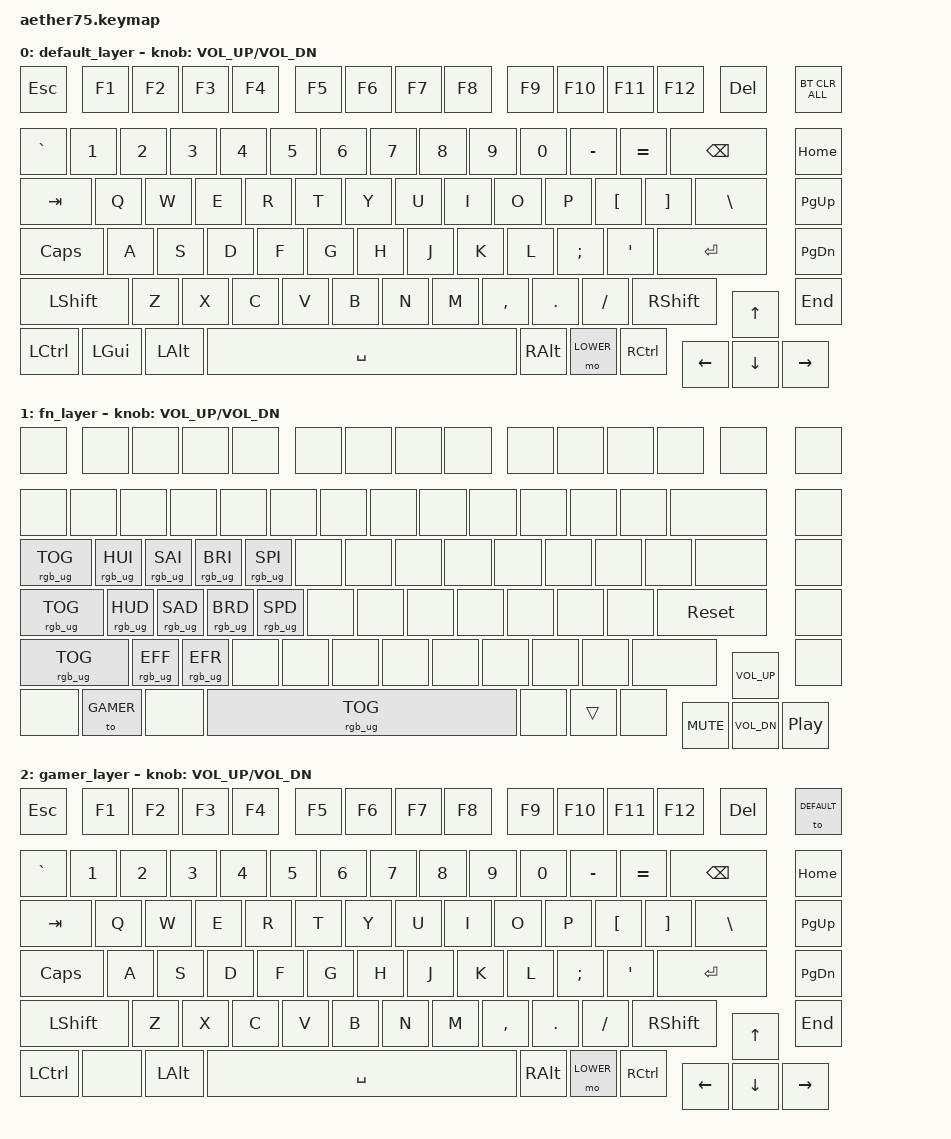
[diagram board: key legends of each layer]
/*
 * Copyright (c) 2025 Miguelio
 *
 * SPDX-License-Identifier: MIT
 */

#include <behaviors.dtsi>
#include <dt-bindings/zmk/keys.h>
#include <dt-bindings/zmk/bt.h>
#include <dt-bindings/zmk/ext_power.h>
#include <dt-bindings/zmk/rgb.h>

#define DEFAULT 0
#define LOWER   1
#define GAMER   2

&left_encoder { status = "okay"; };

/ {
	keymap {
		compatible = "zmk,keymap";

		default_layer {
			bindings = <
	&kp ESC    &kp F1    &kp F2  &kp F3  &kp F4  &kp F5  &kp F6  &kp F7  &kp F8    &kp F9     &kp F10    &kp F11    &kp F12    &kp DEL   &bt BT_CLR_ALL
	&kp GRAVE  &kp N1    &kp N2  &kp N3  &kp N4  &kp N5  &kp N6  &kp N7  &kp N8    &kp N9     &kp N0     &kp MINUS  &kp EQUAL  &kp BSPC  &kp HOME 
	&kp TAB    &kp Q     &kp W   &kp E   &kp R   &kp T   &kp Y   &kp U   &kp I     &kp  O     &kp P      &kp LBKT   &kp RBKT   &kp BSLH  &kp PG_UP 
	&kp CLCK   &kp A     &kp S   &kp D   &kp F   &kp G   &kp H   &kp J   &kp K     &kp L      &kp SEMI   &kp SQT    &kp RET    &kp PG_DN 
	&kp LSHFT  &kp Z     &kp X   &kp C   &kp V   &kp B   &kp N   &kp M   &kp COMMA &kp DOT    &kp FSLH   &kp RSHFT  &kp UP     &kp END 
	&kp LCTRL  &kp LGUI  &kp LALT                        &kp SPACE                 &kp RALT   &mo LOWER  &kp RCTRL  &kp LEFT   &kp DOWN  &kp RIGHT 
			>;
			sensor-bindings = <&inc_dec_kp C_VOL_UP C_VOL_DN>;
		};

		fn_layer {
			bindings = <
	&none            &none           &none           &none            &none           &none   &none    &none    &none   &none   &none   &none         &none        &none &none 
	&none            &none           &none           &none            &none           &none   &none    &none    &none   &none   &none   &none         &none        &none &none  
	&rgb_ug RGB_TOG  &rgb_ug RGB_HUI &rgb_ug RGB_SAI &rgb_ug RGB_BRI  &rgb_ug RGB_SPI &none   &none    &none    &none   &none   &none   &none         &none        &none &none  
	&rgb_ug RGB_TOG  &rgb_ug RGB_HUD &rgb_ug RGB_SAD &rgb_ug RGB_BRD  &rgb_ug RGB_SPD &none   &none    &none    &none   &none   &none   &none         &sys_reset   &none  
	&rgb_ug RGB_TOG  &rgb_ug RGB_EFF &rgb_ug RGB_EFR  &none           &none   &none    &none  &none    &none    &none   &none   &none   &kp C_VOL_UP  &none  
	&none            &to GAMER       &none                                             &rgb_ug RGB_TOG          &none   &trans  &none   &kp K_MUTE    &kp C_VOL_DN &kp C_PLAY_PAUSE 
			>;
			sensor-bindings = <&inc_dec_kp C_VOL_UP C_VOL_DN>;
		};

		gamer_layer {
			bindings = <
	&kp ESC    &kp F1    &kp F2  &kp F3  &kp F4  &kp F5  &kp F6  &kp F7  &kp F8    &kp F9  &kp F10    &kp F11    &kp F12    &kp DEL   &to DEFAULT
	&kp GRAVE  &kp N1    &kp N2  &kp N3  &kp N4  &kp N5  &kp N6  &kp N7  &kp N8    &kp N9  &kp N0     &kp MINUS  &kp EQUAL  &kp BSPC  &kp HOME 
	&kp TAB    &kp Q     &kp W   &kp E   &kp R   &kp T   &kp Y   &kp U   &kp I     &kp  O  &kp P      &kp LBKT   &kp RBKT   &kp BSLH  &kp PG_UP 
	&kp CLCK   &kp A     &kp S   &kp D   &kp F   &kp G   &kp H   &kp J   &kp K     &kp L   &kp SEMI   &kp SQT    &kp RET    &kp PG_DN 
	&kp LSHFT  &kp Z     &kp X   &kp C   &kp V   &kp B   &kp N   &kp M   &kp COMMA &kp DOT &kp FSLH   &kp RSHFT  &kp UP     &kp END 
	&kp LCTRL  &none     &kp LALT                        &kp SPACE               &kp RALT   &mo LOWER  &kp RCTRL  &kp LEFT   &kp DOWN  &kp RIGHT 
			>;
			sensor-bindings = <&inc_dec_kp C_VOL_UP C_VOL_DN>;
		};
	};
};

